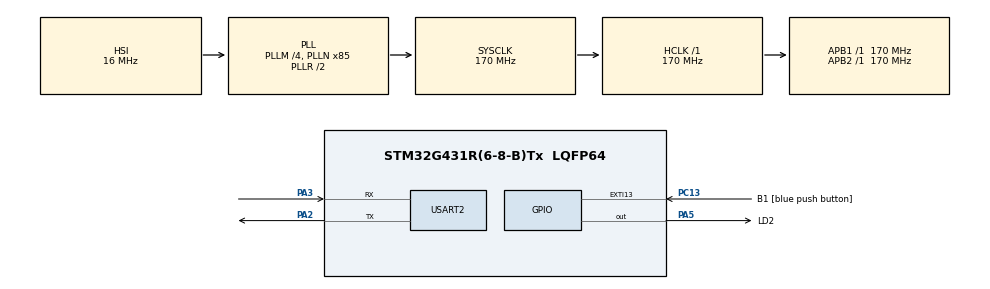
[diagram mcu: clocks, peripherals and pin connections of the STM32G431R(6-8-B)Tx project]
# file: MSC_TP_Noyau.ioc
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FREERTOS.Tasks01=defaultTask,0,128,StartDefaultTask,Default,NULL,Dynamic,NULL,NULL
FREERTOS.configCHECK_FOR_STACK_OVERFLOW=2
FREERTOS.configGENERATE_RUN_TIME_STATS=1
FREERTOS.configQUEUE_REGISTRY_SIZE=20
FREERTOS.configTOTAL_HEAP_SIZE=20000
FREERTOS.configUSE_STATS_FORMATTING_FUNCTIONS=1
FREERTOS.configUSE_TRACE_FACILITY=1
Mcu.Family=STM32G4
Mcu.Name=STM32G431R(6-8-B)Tx
Mcu.Package=LQFP64
NVIC.EXTI15_10_IRQn=true\:5\:0\:false\:false\:true\:true\:true\:true\:true
NVIC.PriorityGroup=NVIC_PRIORITYGROUP_4
NVIC.USART2_IRQn=true\:5\:0\:false\:false\:true\:true\:true\:true\:true
PA13.GPIO_Label=T_SWDIO
PA13.Signal=SYS_JTMS-SWDIO
PA14.GPIO_Label=T_SWCLK
PA14.Signal=SYS_JTCK-SWCLK
PA2.Mode=Asynchronous
PA2.Signal=USART2_TX
PA3.Mode=Asynchronous
PA3.Signal=USART2_RX
PA5.GPIO_Label=LD2
PA5.Signal=GPIO_Output
PB3.GPIO_Label=T_SWO
PB3.Signal=SYS_JTDO-SWO
PC13.GPIO_Label=B1 [blue push button]
PC13.Signal=GPXTI13
PC14-OSC32_IN.GPIO_Label=RCC_OSC32_OUT
PC14-OSC32_IN.Signal=RCC_OSC32_IN
PC15-OSC32_OUT.GPIO_Label=RCC_OSC32_OUT
PC15-OSC32_OUT.Signal=RCC_OSC32_OUT
PF0-OSC_IN.GPIO_Label=RCC_OSC_IN
PF0-OSC_IN.Signal=RCC_OSC_IN
PF1-OSC_OUT.GPIO_Label=RCC_OSC_OUT
PF1-OSC_OUT.Signal=RCC_OSC_OUT
ProjectManager.HeapSize=0x200
ProjectManager.StackSize=0x400
ProjectManager.TargetToolchain=STM32CubeIDE
RCC.ADC12Freq_Value=170000000
RCC.AHBFreq_Value=170000000
RCC.APB1Freq_Value=170000000
RCC.APB1TimFreq_Value=170000000
RCC.APB2Freq_Value=170000000
RCC.APB2TimFreq_Value=170000000
RCC.CortexFreq_Value=170000000
RCC.EXTERNAL_CLOCK_VALUE=12288000
RCC.HCLKFreq_Value=170000000
RCC.HSE_VALUE=24000000
RCC.HSI48_VALUE=48000000
RCC.HSI_VALUE=16000000
RCC.LSE_VALUE=32768
RCC.PLLM=RCC_PLLM_DIV4
RCC.PLLN=85
RCC.RTCClockSelection=RCC_RTCCLKSOURCE_LSE
RCC.SYSCLKFreq_VALUE=170000000
RCC.SYSCLKSource=RCC_SYSCLKSOURCE_PLLCLK
RCC.USBFreq_Value=170000000
RCC.VCOOutputFreq_Value=340000000
TIM2.Prescaler=16999
USART2.VirtualMode-Asynchronous=VM_ASYNC
VP_FREERTOS_VS_CMSIS_V1.Mode=CMSIS_V1
VP_SYS_VS_DBSignals.Mode=DisableDeadBatterySignals
VP_TIM2_VS_ClockSourceINT.Mode=Internal
board=NUCLEO-G431RB

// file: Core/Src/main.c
/* USER CODE BEGIN Header */
/**
 ******************************************************************************
 * @file           : main.c
 * @brief          : Main program body
 ******************************************************************************
 * @attention
 *
 * Copyright (c) 2025 STMicroelectronics.
 * All rights reserved.
 *
 * This software is licensed under terms that can be found in the LICENSE file
 * in the root directory of this software component.
 * If no LICENSE file comes with this software, it is provided AS-IS.
 *
 ******************************************************************************
 */
/* USER CODE END Header */
#include "main.h"
#include "cmsis_os.h"
#include "tim.h"
#include "usart.h"
#include "gpio.h"

/* USER CODE BEGIN Includes */
#include "Shell.h"

/* USER CODE END Includes */

/* USER CODE BEGIN PD */
#define STACK_SIZE 256
#define TASK1_PRIORITY 1
#define TASK2_PRIORITY 2
#define TASK1_DELAY 1
#define TASK2_DELAY 2
#define TaskGT_iter_max 15
/* USER CODE END PD */

/* USER CODE BEGIN PV */

BaseType_t ret ;
SemaphoreHandle_t Task_bug_mutex;
QueueHandle_t TaskGT_queue;

/* USER CODE END PV */

void SystemClock_Config(void);
void MX_FREERTOS_Init(void);

int main(void)
{

	/* MCU Configuration--------------------------------------------------------*/

	/* Reset of all peripherals, Initializes the Flash interface and the Systick. */
	HAL_Init();

	/* Configure the system clock */
	SystemClock_Config();

	/* Initialize all configured peripherals */
	MX_GPIO_Init();
	MX_USART2_UART_Init();
	MX_TIM2_Init();
	/* USER CODE BEGIN 2 */

	printf("\r\n ** INTRO_RTOS ** \r\n");

	TaskGT_queue = xQueueCreate(TaskGT_iter_max, sizeof(uint32_t));
	TaskGT_queue = xQueueCreate(TaskGT_iter_max, sizeof(uint32_t));

	if (TaskGT_queue == NULL) {
		// Erreur : pas assez de mémoire heap
		printf("Error creating Queue !\r\n");
		printf("Performing software reset...\r\n");
		NVIC_SystemReset();
	} else {
	    vQueueAddToRegistry(TaskGT_queue, "Queue_GT");
	}

	if (pdPASS != xTaskCreate(task_shell, "shell", 512, NULL, 3 ,&h_task_shell))
	{
		printf("error creating task Take \r\n");
		Error_Handler();
	}

	if(xTaskCreate(task_ToggleLED, "ToggleLED", 256, NULL, 1 , &h_task_ToggleLED) != pdPASS){
		printf("Error creating task ToggleLED \r\n");
		Error_Handler();
	}

	if(xTaskCreate(task_spam, "spam", 256, NULL, 2 , &h_task_spam) != pdPASS){
		printf("Error creating task spam \r\n");
		Error_Handler();
	}

	if( pdPASS != xTaskCreate(taskGive, "taskGive", 256, NULL, 1, NULL)){
		printf("error creating task Give \r\n");
		Error_Handler();
	}

	if( pdPASS != xTaskCreate(taskTake, "taskTake", 256, NULL, 2, &HandleTaskTake)){
		printf("error creating task Take \r\n");
		Error_Handler();
	}

	Task_bug_mutex = xSemaphoreCreateMutex();
	if (Task_bug_mutex != NULL) {
	    vQueueAddToRegistry(Task_bug_mutex, "Mutex_Bug");
	}
	ret = xTaskCreate(task_bug, "Tache 1", STACK_SIZE, (void *) TASK1_DELAY, TASK1_PRIORITY, NULL);
	configASSERT(pdPASS == ret);
	ret = xTaskCreate(task_bug, "Tache 2", STACK_SIZE, (void *) TASK2_DELAY, TASK2_PRIORITY, NULL);
	configASSERT(pdPASS == ret);

	vTaskStartScheduler();

	/* USER CODE END 2 */

	/* Call init function for freertos objects (in cmsis_os2.c) */
	MX_FREERTOS_Init();

	/* Start scheduler */
	osKernelStart();

	/* We should never get here as control is now taken by the scheduler */

	/* Infinite loop */
	/* USER CODE BEGIN WHILE */
	while (1)
	{
		//ToggleLED();
		/* USER CODE END WHILE */

	}
}

void SystemClock_Config(void)
{
	RCC_OscInitTypeDef RCC_OscInitStruct = {0};
	RCC_ClkInitTypeDef RCC_ClkInitStruct = {0};

	/** Configure the main internal regulator output voltage
	 */
	HAL_PWREx_ControlVoltageScaling(PWR_REGULATOR_VOLTAGE_SCALE1_BOOST);

	/** Initializes the RCC Oscillators according to the specified parameters
	 * in the RCC_OscInitTypeDef structure.
	 */
	RCC_OscInitStruct.OscillatorType = RCC_OSCILLATORTYPE_HSI;
	RCC_OscInitStruct.HSIState = RCC_HSI_ON;
	RCC_OscInitStruct.HSICalibrationValue = RCC_HSICALIBRATION_DEFAULT;
	RCC_OscInitStruct.PLL.PLLState = RCC_PLL_ON;
	RCC_OscInitStruct.PLL.PLLSource = RCC_PLLSOURCE_HSI;
	RCC_OscInitStruct.PLL.PLLM = RCC_PLLM_DIV4;
	RCC_OscInitStruct.PLL.PLLN = 85;
	RCC_OscInitStruct.PLL.PLLP = RCC_PLLP_DIV2;
	RCC_OscInitStruct.PLL.PLLQ = RCC_PLLQ_DIV2;
	RCC_OscInitStruct.PLL.PLLR = RCC_PLLR_DIV2;
	if (HAL_RCC_OscConfig(&RCC_OscInitStruct) != HAL_OK)
	{
		Error_Handler();
	}

	/** Initializes the CPU, AHB and APB buses clocks
	 */
	RCC_ClkInitStruct.ClockType = RCC_CLOCKTYPE_HCLK|RCC_CLOCKTYPE_SYSCLK
			|RCC_CLOCKTYPE_PCLK1|RCC_CLOCKTYPE_PCLK2;
	RCC_ClkInitStruct.SYSCLKSource = RCC_SYSCLKSOURCE_PLLCLK;
	RCC_ClkInitStruct.AHBCLKDivider = RCC_SYSCLK_DIV1;
	RCC_ClkInitStruct.APB1CLKDivider = RCC_HCLK_DIV1;
	RCC_ClkInitStruct.APB2CLKDivider = RCC_HCLK_DIV1;

	if (HAL_RCC_ClockConfig(&RCC_ClkInitStruct, FLASH_LATENCY_4) != HAL_OK)
	{
		Error_Handler();
	}
}

void Error_Handler(void)
{
	__disable_irq();
	while (1)
	{
	}
}

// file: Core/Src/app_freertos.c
/* USER CODE BEGIN Header */
/**
  ******************************************************************************
  * File Name          : app_freertos.c
  * Description        : Code for freertos applications
  ******************************************************************************
  * @attention
  *
  * Copyright (c) 2025 STMicroelectronics.
  * All rights reserved.
  *
  * This software is licensed under terms that can be found in the LICENSE file
  * in the root directory of this software component.
  * If no LICENSE file comes with this software, it is provided AS-IS.
  *
  ******************************************************************************
  */
/* USER CODE END Header */

#include "FreeRTOS.h"
#include "task.h"
#include "main.h"
#include "cmsis_os.h"

osThreadId defaultTaskHandle;

void StartDefaultTask(void const * argument);

void MX_FREERTOS_Init(void); /* (MISRA C 2004 rule 8.1) */

/* Hook prototypes */
void vApplicationStackOverflowHook(xTaskHandle xTask, signed char *pcTaskName);

/* USER CODE BEGIN 4 */
__weak void vApplicationStackOverflowHook(xTaskHandle xTask, signed char *pcTaskName)
{
   /* Run time stack overflow checking is performed if
   configCHECK_FOR_STACK_OVERFLOW is defined to 1 or 2. This hook function is
   called if a stack overflow is detected. */
}
/* USER CODE END 4 */

void MX_FREERTOS_Init(void) {

  /* Create the thread(s) */
  /* definition and creation of defaultTask */
  osThreadDef(defaultTask, StartDefaultTask, osPriorityNormal, 0, 128);
  defaultTaskHandle = osThreadCreate(osThread(defaultTask), NULL);

}

void StartDefaultTask(void const * argument)
{
  for(;;)
  {
    osDelay(1);
  }
}
